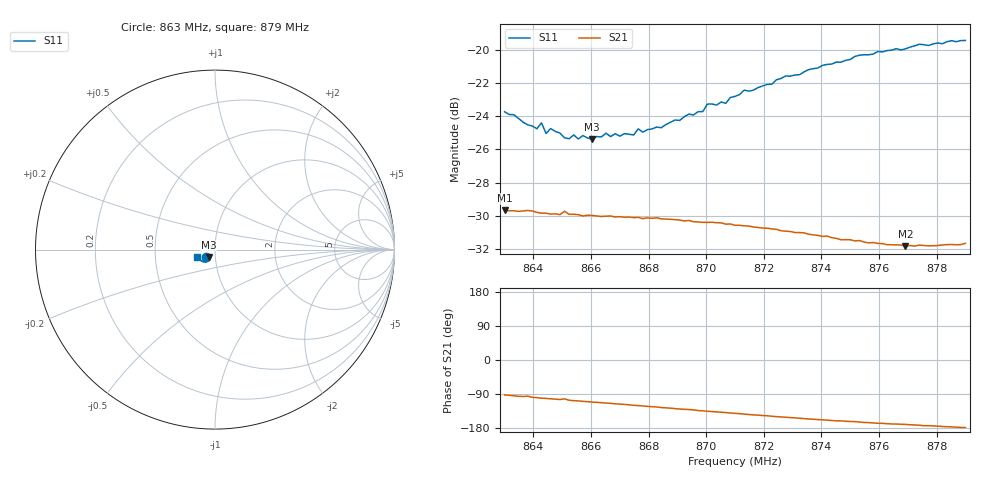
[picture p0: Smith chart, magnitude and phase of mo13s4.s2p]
# HZ S RI R 50
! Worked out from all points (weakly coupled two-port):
!   101 points, 863 MHz to 879 MHz, reference 50 ohm
!   highest |S21| = -29.66 dB at 863 MHz (marker M1); lowest = -31.8 dB at 876.92 MHz (marker M2)
!   lowest |S11| = -25.4 dB at 866.04 MHz (marker M3), VSWR 1.11, Z = 46.5 - j3.83 ohm
!   |S11| at or under -10 dB: start of sweep to end of sweep
!   S12 and S22 are empty: the file has one direction only
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8.63e8  -0.0513 -0.0401  -0.00124 -0.0329  0 0  0 0
8.6412e8  -0.0433 -0.0384  -0.00519 -0.032  0 0  0 0
8.6428e8  -0.0435 -0.0417  -0.00604 -0.0316  0 0  0 0
8.6444e8  -0.0413 -0.0378  -0.00632 -0.0316  0 0  0 0
8.646e8  -0.0422 -0.0397  -0.00686 -0.0312  0 0  0 0
8.6508e8  -0.0381 -0.0387  -0.00705 -0.0319  0 0  0 0
8.6572e8  -0.0356 -0.0421  -0.0103 -0.0298  0 0  0 0
8.6604e8  -0.0347 -0.041  -0.0114 -0.0296  0 0  0 0
8.6652e8  -0.034 -0.0446  -0.0127 -0.0289  0 0  0 0
8.6668e8  -0.0332 -0.0436  -0.013 -0.0288  0 0  0 0
8.6748e8  -0.0299 -0.0466  -0.0155 -0.0271  0 0  0 0
8.6764e8  -0.0326 -0.0477  -0.0157 -0.027  0 0  0 0
8.678e8  -0.0299 -0.0479  -0.0161 -0.0265  0 0  0 0
8.6844e8  -0.0302 -0.0498  -0.018 -0.0252  0 0  0 0
8.6988e8  -0.032 -0.0567  -0.0211 -0.0217  0 0  0 0
8.7004e8  -0.0334 -0.0599  -0.0214 -0.0213  0 0  0 0
8.7068e8  -0.034 -0.06  -0.0224 -0.0197  0 0  0 0
8.71e8  -0.0371 -0.0621  -0.0229 -0.0187  0 0  0 0
8.7372e8  -0.0539 -0.0692  -0.0254 -0.0111  0 0  0 0
8.7644e8  -0.0791 -0.0608  -0.0254 -0.00501  0 0  0 0
8.7692e8  -0.0826 -0.0576  -0.0252 -0.00447  0 0  0 0
8.79e8  -0.098 -0.0421  -0.0261 -0.000788  0 0  0 0
